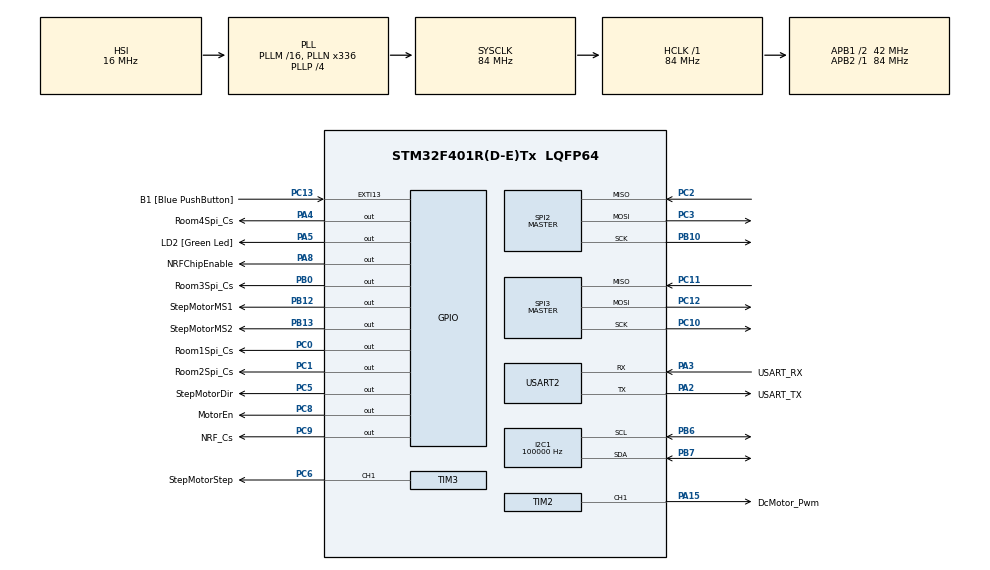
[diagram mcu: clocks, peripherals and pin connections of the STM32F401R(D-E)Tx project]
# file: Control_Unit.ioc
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Dma.Request0=SPI3_TX
Dma.Request1=SPI3_RX
Dma.Request2=SPI2_RX
Dma.Request3=SPI2_TX
Dma.SPI2_RX.2.Direction=DMA_PERIPH_TO_MEMORY
Dma.SPI2_RX.2.FIFOMode=DMA_FIFOMODE_DISABLE
Dma.SPI2_RX.2.Instance=DMA1_Stream3
Dma.SPI2_RX.2.MemDataAlignment=DMA_MDATAALIGN_BYTE
Dma.SPI2_RX.2.MemInc=DMA_MINC_ENABLE
Dma.SPI2_RX.2.Mode=DMA_NORMAL
Dma.SPI2_RX.2.PeriphDataAlignment=DMA_PDATAALIGN_BYTE
Dma.SPI2_RX.2.PeriphInc=DMA_PINC_DISABLE
Dma.SPI2_RX.2.Priority=DMA_PRIORITY_LOW
Dma.SPI2_TX.3.Direction=DMA_MEMORY_TO_PERIPH
Dma.SPI2_TX.3.FIFOMode=DMA_FIFOMODE_DISABLE
Dma.SPI2_TX.3.Instance=DMA1_Stream4
Dma.SPI2_TX.3.MemDataAlignment=DMA_MDATAALIGN_BYTE
Dma.SPI2_TX.3.MemInc=DMA_MINC_ENABLE
Dma.SPI2_TX.3.Mode=DMA_NORMAL
Dma.SPI2_TX.3.PeriphDataAlignment=DMA_PDATAALIGN_BYTE
Dma.SPI2_TX.3.PeriphInc=DMA_PINC_DISABLE
Dma.SPI2_TX.3.Priority=DMA_PRIORITY_LOW
Dma.SPI3_RX.1.Direction=DMA_PERIPH_TO_MEMORY
Dma.SPI3_RX.1.FIFOMode=DMA_FIFOMODE_DISABLE
Dma.SPI3_RX.1.Instance=DMA1_Stream0
Dma.SPI3_RX.1.MemDataAlignment=DMA_MDATAALIGN_BYTE
Dma.SPI3_RX.1.MemInc=DMA_MINC_ENABLE
Dma.SPI3_RX.1.Mode=DMA_NORMAL
Dma.SPI3_RX.1.PeriphDataAlignment=DMA_PDATAALIGN_BYTE
Dma.SPI3_RX.1.PeriphInc=DMA_PINC_DISABLE
Dma.SPI3_RX.1.Priority=DMA_PRIORITY_LOW
Dma.SPI3_TX.0.Direction=DMA_MEMORY_TO_PERIPH
Dma.SPI3_TX.0.FIFOMode=DMA_FIFOMODE_DISABLE
Dma.SPI3_TX.0.Instance=DMA1_Stream5
Dma.SPI3_TX.0.MemDataAlignment=DMA_MDATAALIGN_BYTE
Dma.SPI3_TX.0.MemInc=DMA_MINC_ENABLE
Dma.SPI3_TX.0.Mode=DMA_NORMAL
Dma.SPI3_TX.0.PeriphDataAlignment=DMA_PDATAALIGN_BYTE
Dma.SPI3_TX.0.PeriphInc=DMA_PINC_DISABLE
Dma.SPI3_TX.0.Priority=DMA_PRIORITY_LOW
FREERTOS.Tasks01=defaultTask,-2,128,StartDefaultTask,Default,NULL,Dynamic,NULL,NULL;Temp,2,1280,TempFunc,Default,NULL,Dynamic,NULL,NULL;Main,0,1280,MainFunc,Default,NULL,Dynamic,NULL,NULL;NRFCom,3,1280,NRFComFunc,Default,NULL,Dynamic,NULL,NULL
FREERTOS.configTOTAL_HEAP_SIZE=50000
I2C1.ClockSpeed=100000
I2C1.NoStretchMode=I2C_NOSTRETCH_ENABLE
Mcu.Family=STM32F4
Mcu.Name=STM32F401R(D-E)Tx
Mcu.Package=LQFP64
NVIC.DMA1_Stream0_IRQn=true\:5\:0\:false\:false\:true\:true\:false\:true\:true
NVIC.DMA1_Stream3_IRQn=true\:5\:0\:false\:false\:true\:true\:false\:true\:true
NVIC.DMA1_Stream4_IRQn=true\:5\:0\:false\:false\:true\:true\:false\:true\:true
NVIC.DMA1_Stream5_IRQn=true\:5\:0\:false\:false\:true\:true\:false\:true\:true
NVIC.I2C1_EV_IRQn=true\:5\:0\:false\:false\:true\:true\:true\:true\:true
NVIC.PriorityGroup=NVIC_PRIORITYGROUP_4
NVIC.SPI2_IRQn=true\:5\:0\:false\:false\:true\:true\:true\:true\:true
NVIC.SPI3_IRQn=true\:5\:0\:false\:false\:true\:true\:true\:true\:true
NVIC.TIM1_UP_TIM10_IRQn=true\:15\:0\:false\:false\:true\:false\:false\:true\:true
NVIC.TIM3_IRQn=true\:5\:0\:false\:false\:true\:true\:true\:true\:true
NVIC.TimeBase=TIM1_UP_TIM10_IRQn
NVIC.TimeBaseIP=TIM1
PA13.GPIO_Label=TMS
PA13.Mode=Serial_Wire
PA13.Signal=SYS_JTMS-SWDIO
PA14.GPIO_Label=TCK
PA14.Mode=Serial_Wire
PA14.Signal=SYS_JTCK-SWCLK
PA15.GPIO_Label=DcMotor_Pwm
PA15.Signal=S_TIM2_CH1_ETR
PA2.GPIO_Label=USART_TX
PA2.GPIO_Mode=GPIO_MODE_AF_PP
PA2.GPIO_PuPd=GPIO_NOPULL
PA2.GPIO_Speed=GPIO_SPEED_FREQ_LOW
PA2.Mode=Asynchronous
PA2.Signal=USART2_TX
PA3.GPIO_Label=USART_RX
PA3.GPIO_Mode=GPIO_MODE_AF_PP
PA3.GPIO_PuPd=GPIO_NOPULL
PA3.GPIO_Speed=GPIO_SPEED_FREQ_LOW
PA3.Mode=Asynchronous
PA3.Signal=USART2_RX
PA4.GPIO_Label=Room4Spi_Cs
PA4.Signal=GPIO_Output
PA5.GPIO_Label=LD2 [Green Led]
PA5.GPIO_Mode=GPIO_MODE_OUTPUT_PP
PA5.GPIO_PuPd=GPIO_NOPULL
PA5.GPIO_Speed=GPIO_SPEED_FREQ_LOW
PA5.Signal=GPIO_Output
PA8.GPIO_Label=NRFChipEnable
PA8.Signal=GPIO_Output
PB0.GPIO_Label=Room3Spi_Cs
PB0.Signal=GPIO_Output
PB10.Mode=Full_Duplex_Master
PB10.Signal=SPI2_SCK
PB12.GPIO_Label=StepMotorMS1
PB12.Signal=GPIO_Output
PB13.GPIO_Label=StepMotorMS2
PB13.Signal=GPIO_Output
PB3.GPIO_Label=SWO
PB3.Signal=SYS_JTDO-SWO
PB6.Mode=I2C
PB6.Signal=I2C1_SCL
PB7.Mode=I2C
PB7.Signal=I2C1_SDA
PC0.GPIO_Label=Room1Spi_Cs
PC0.Signal=GPIO_Output
PC1.GPIO_Label=Room2Spi_Cs
PC1.Signal=GPIO_Output
PC10.Mode=Full_Duplex_Master
PC10.Signal=SPI3_SCK
PC11.Mode=Full_Duplex_Master
PC11.Signal=SPI3_MISO
PC12.Mode=Full_Duplex_Master
PC12.Signal=SPI3_MOSI
PC13-ANTI_TAMP.GPIO_Label=B1 [Blue PushButton]
PC13-ANTI_TAMP.GPIO_ModeDefaultEXTI=GPIO_MODE_IT_FALLING
PC13-ANTI_TAMP.GPIO_PuPd=GPIO_NOPULL
PC13-ANTI_TAMP.Signal=GPXTI13
PC14-OSC32_IN.Mode=LSE-External-Oscillator
PC14-OSC32_IN.Signal=RCC_OSC32_IN
PC15-OSC32_OUT.Mode=LSE-External-Oscillator
PC15-OSC32_OUT.Signal=RCC_OSC32_OUT
PC2.Mode=Full_Duplex_Master
PC2.Signal=SPI2_MISO
PC3.Mode=Full_Duplex_Master
PC3.Signal=SPI2_MOSI
PC5.GPIO_Label=StepMotorDir
PC5.Signal=GPIO_Output
PC6.GPIO_Label=StepMotorStep
PC6.Signal=S_TIM3_CH1
PC8.GPIO_Label=MotorEn
PC8.Signal=GPIO_Output
PC9.GPIO_Label=NRF_Cs
PC9.Signal=GPIO_Output
PH0\ -\ OSC_IN.Mode=HSE-External-Clock-Source
PH0\ -\ OSC_IN.Signal=RCC_OSC_IN
PH1\ -\ OSC_OUT.Mode=HSE-External-Clock-Source
PH1\ -\ OSC_OUT.Signal=RCC_OSC_OUT
ProjectManager.HeapSize=0x200
ProjectManager.StackSize=0x400
ProjectManager.TargetToolchain=STM32CubeIDE
RCC.48MHZClocksFreq_Value=48000000
RCC.AHBFreq_Value=84000000
RCC.APB1CLKDivider=RCC_HCLK_DIV2
RCC.APB1Freq_Value=42000000
RCC.APB1TimFreq_Value=84000000
RCC.APB2Freq_Value=84000000
RCC.APB2TimFreq_Value=84000000
RCC.CortexFreq_Value=84000000
RCC.HCLKFreq_Value=84000000
RCC.HSE_VALUE=8000000
RCC.HSI_VALUE=16000000
RCC.PLLN=336
RCC.PLLP=RCC_PLLP_DIV4
RCC.PLLQ=7
RCC.SYSCLKFreq_VALUE=84000000
RCC.SYSCLKSource=RCC_SYSCLKSOURCE_PLLCLK
RCC.VCOOutputFreq_Value=336000000
SH.S_TIM2_CH1_ETR.0=TIM2_CH1,PWM Generation1 CH1
SH.S_TIM3_CH1.0=TIM3_CH1,PWM Generation1 CH1
SPI2.BaudRatePrescaler=SPI_BAUDRATEPRESCALER_8
SPI2.Direction=SPI_DIRECTION_2LINES
SPI2.Mode=SPI_MODE_MASTER
SPI2.VirtualType=VM_MASTER
SPI3.BaudRatePrescaler=SPI_BAUDRATEPRESCALER_8
SPI3.CLKPolarity=SPI_POLARITY_LOW
SPI3.Direction=SPI_DIRECTION_2LINES
SPI3.Mode=SPI_MODE_MASTER
SPI3.VirtualType=VM_MASTER
TIM2.Channel-PWM\ Generation1\ CH1=TIM_CHANNEL_1
TIM2.Period=100-1
TIM2.Prescaler=840-1
TIM3.Channel-PWM\ Generation1\ CH1=TIM_CHANNEL_1
TIM3.CounterMode=TIM_COUNTERMODE_UP
TIM3.Period=200-1
TIM3.Prescaler=100-1
TIM3.Pulse-PWM\ Generation1\ CH1=0
USART2.VirtualMode=VM_ASYNC
VP_FREERTOS_VS_CMSIS_V1.Mode=CMSIS_V1
VP_SYS_VS_tim1.Mode=TIM1
board=NUCLEO-F401RE

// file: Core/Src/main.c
/* USER CODE BEGIN Header */
/**
  ******************************************************************************
  * @file           : main.c
  * @brief          : Main program body
  ******************************************************************************
  * @attention
  *
  * Copyright (c) 2025 STMicroelectronics.
  * All rights reserved.
  *
  * This software is licensed under terms that can be found in the LICENSE file
  * in the root directory of this software component.
  * If no LICENSE file comes with this software, it is provided AS-IS.
  *
  ******************************************************************************
  */
/* USER CODE END Header */
#include "main.h"
#include "cmsis_os.h"
#include "dma.h"
#include "i2c.h"
#include "spi.h"
#include "tim.h"
#include "usart.h"
#include "gpio.h"

/* USER CODE BEGIN Includes */
#include <Bme280.h>
#include "i2c.h"
#include <Tmc2208.h>
#include <stdbool.h>
#include <Mpu6050.h>
#include "Nrf2401Plus.h"
#include <Bmp180.h>
/* USER CODE END Includes */

void SystemClock_Config(void);
void MX_FREERTOS_Init(void);

int main(void)
{

  /* MCU Configuration--------------------------------------------------------*/

  /* Reset of all peripherals, Initializes the Flash interface and the Systick. */
  HAL_Init();

  /* Configure the system clock */
  SystemClock_Config();

  /* Initialize all configured peripherals */
  MX_GPIO_Init();
  MX_DMA_Init();
  MX_USART2_UART_Init();
  MX_I2C1_Init();
  MX_SPI2_Init();
  MX_SPI3_Init();
  MX_TIM2_Init();
  MX_TIM3_Init();
  /* USER CODE BEGIN 2 */
  Bme280_Init(Room1Spi_Cs_Pin,&chamber1);
 // Bme280_Init(Room2Spi_Cs_Pin,chamber2);
 // Bme280_Init(Room3Spi_Cs_Pin,chamber3);
//  Bme280_Init(Room4Spi_Cs_Pin,chamber4);
   InitMpu6050();
   Tmc2208Init();
   Bmp180Init();
   NrfInit(TX, NRFChipEnable_GPIO_Port, NRFChipEnable_Pin,NRF_Cs_GPIO_Port,NRF_Cs_Pin, &hspi3);
  /* USER CODE END 2 */

  /* Call init function for freertos objects (in cmsis_os2.c) */
  MX_FREERTOS_Init();

  /* Start scheduler */
  osKernelStart();

  /* We should never get here as control is now taken by the scheduler */

  /* Infinite loop */
  while (1)
  {

  }
}

void SystemClock_Config(void)
{
  RCC_OscInitTypeDef RCC_OscInitStruct = {0};
  RCC_ClkInitTypeDef RCC_ClkInitStruct = {0};

  /** Configure the main internal regulator output voltage
  */
  __HAL_RCC_PWR_CLK_ENABLE();
  __HAL_PWR_VOLTAGESCALING_CONFIG(PWR_REGULATOR_VOLTAGE_SCALE2);

  /** Initializes the RCC Oscillators according to the specified parameters
  * in the RCC_OscInitTypeDef structure.
  */
  RCC_OscInitStruct.OscillatorType = RCC_OSCILLATORTYPE_HSI;
  RCC_OscInitStruct.HSIState = RCC_HSI_ON;
  RCC_OscInitStruct.HSICalibrationValue = RCC_HSICALIBRATION_DEFAULT;
  RCC_OscInitStruct.PLL.PLLState = RCC_PLL_ON;
  RCC_OscInitStruct.PLL.PLLSource = RCC_PLLSOURCE_HSI;
  RCC_OscInitStruct.PLL.PLLM = 16;
  RCC_OscInitStruct.PLL.PLLN = 336;
  RCC_OscInitStruct.PLL.PLLP = RCC_PLLP_DIV4;
  RCC_OscInitStruct.PLL.PLLQ = 7;
  if (HAL_RCC_OscConfig(&RCC_OscInitStruct) != HAL_OK)
  {
    Error_Handler();
  }

  /** Initializes the CPU, AHB and APB buses clocks
  */
  RCC_ClkInitStruct.ClockType = RCC_CLOCKTYPE_HCLK|RCC_CLOCKTYPE_SYSCLK
                              |RCC_CLOCKTYPE_PCLK1|RCC_CLOCKTYPE_PCLK2;
  RCC_ClkInitStruct.SYSCLKSource = RCC_SYSCLKSOURCE_PLLCLK;
  RCC_ClkInitStruct.AHBCLKDivider = RCC_SYSCLK_DIV1;
  RCC_ClkInitStruct.APB1CLKDivider = RCC_HCLK_DIV2;
  RCC_ClkInitStruct.APB2CLKDivider = RCC_HCLK_DIV1;

  if (HAL_RCC_ClockConfig(&RCC_ClkInitStruct, FLASH_LATENCY_2) != HAL_OK)
  {
    Error_Handler();
  }
}

void HAL_TIM_PeriodElapsedCallback(TIM_HandleTypeDef *htim)
{
  if (htim->Instance == TIM1) {
    HAL_IncTick();
  }
}

void Error_Handler(void)
{
  __disable_irq();
  while (1)
  {
  }
}

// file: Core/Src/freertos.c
/* USER CODE BEGIN Header */
/**
  ******************************************************************************
  * File Name          : freertos.c
  * Description        : Code for freertos applications
  ******************************************************************************
  * @attention
  *
  * Copyright (c) 2025 STMicroelectronics.
  * All rights reserved.
  *
  * This software is licensed under terms that can be found in the LICENSE file
  * in the root directory of this software component.
  * If no LICENSE file comes with this software, it is provided AS-IS.
  *
  ******************************************************************************
  */
/* USER CODE END Header */

#include "FreeRTOS.h"
#include "task.h"
#include "main.h"
#include "cmsis_os.h"

/* USER CODE BEGIN Includes */
#include <Bme280.h>
#include "i2c.h"
#include <Mpu6050.h>
#include <Tmc2208.h>
#include "tim.h"
#include <Bmp180.h>
#include <Sht31.h>
#include "Nrf2401Plus.h"
/* USER CODE END Includes */

osThreadId defaultTaskHandle;
osThreadId TempHandle;
osThreadId MainHandle;
osThreadId NRFComHandle;

void StartDefaultTask(void const * argument);
void TempFunc(void const * argument);
void MainFunc(void const * argument);
void NRFComFunc(void const * argument);

void MX_FREERTOS_Init(void); /* (MISRA C 2004 rule 8.1) */

/* GetIdleTaskMemory prototype (linked to static allocation support) */
void vApplicationGetIdleTaskMemory( StaticTask_t **ppxIdleTaskTCBBuffer, StackType_t **ppxIdleTaskStackBuffer, uint32_t *pulIdleTaskStackSize );

/* USER CODE BEGIN GET_IDLE_TASK_MEMORY */
static StaticTask_t xIdleTaskTCBBuffer;
static StackType_t xIdleStack[configMINIMAL_STACK_SIZE];

void vApplicationGetIdleTaskMemory( StaticTask_t **ppxIdleTaskTCBBuffer, StackType_t **ppxIdleTaskStackBuffer, uint32_t *pulIdleTaskStackSize )
{
  *ppxIdleTaskTCBBuffer = &xIdleTaskTCBBuffer;
  *ppxIdleTaskStackBuffer = &xIdleStack[0];
  *pulIdleTaskStackSize = configMINIMAL_STACK_SIZE;
  /* place for user code */
}
/* USER CODE END GET_IDLE_TASK_MEMORY */

void MX_FREERTOS_Init(void) {

  /* Create the thread(s) */
  /* definition and creation of defaultTask */
  osThreadDef(defaultTask, StartDefaultTask, osPriorityLow, 0, 128);
  defaultTaskHandle = osThreadCreate(osThread(defaultTask), NULL);

  /* definition and creation of Temp */
  osThreadDef(Temp, TempFunc, osPriorityHigh, 0, 1280);
  TempHandle = osThreadCreate(osThread(Temp), NULL);

  /* definition and creation of Main */
  osThreadDef(Main, MainFunc, osPriorityNormal, 0, 1280);
  MainHandle = osThreadCreate(osThread(Main), NULL);

  /* definition and creation of NRFCom */
  osThreadDef(NRFCom, NRFComFunc, osPriorityRealtime, 0, 1280);
  NRFComHandle = osThreadCreate(osThread(NRFCom), NULL);

}

void StartDefaultTask(void const * argument)
{
  for(;;)
  {
    osDelay(1);
  }
}

void TempFunc(void const * argument)
{
  /* USER CODE BEGIN TempFunc */
  /* Infinite loop */
  for(;;)
  {

	Bme280_Raw_Temp(Room1Spi_Cs_Pin,&mBme280.temp1,&chamber1);
//	Bme280_Raw_Temp(Room2Spi_Cs_Pin,mBme280.temp2);
//	Bme280_Raw_Temp(Room3Spi_Cs_Pin,mBme280.temp3);
//	Bme280_Raw_Temp(Room4Spi_Cs_Pin,mBme280.temp4);
	Sht31_Temperature();
	ReadBmp180PressureData();
	osDelay(1);
  }
  /* USER CODE END TempFunc */
}

void MainFunc(void const * argument)
{
  /* USER CODE BEGIN MainFunc */
  /* Infinite loop */
  for(;;)
  {
	Mpu6050Read();
	ActiveStabilizationPlatform();
    osDelay(1);
  }
  /* USER CODE END MainFunc */
}

void NRFComFunc(void const * argument)
{
  /* USER CODE BEGIN NRFComFunc */
  /* Infinite loop */
  for(;;)
  {
	HAL_GPIO_TogglePin(GPIOA, LD2_Pin);
	NrfDataSending();
	HAL_GPIO_TogglePin(GPIOA, LD2_Pin);
    osDelay(1);
  }
  /* USER CODE END NRFComFunc */
}
